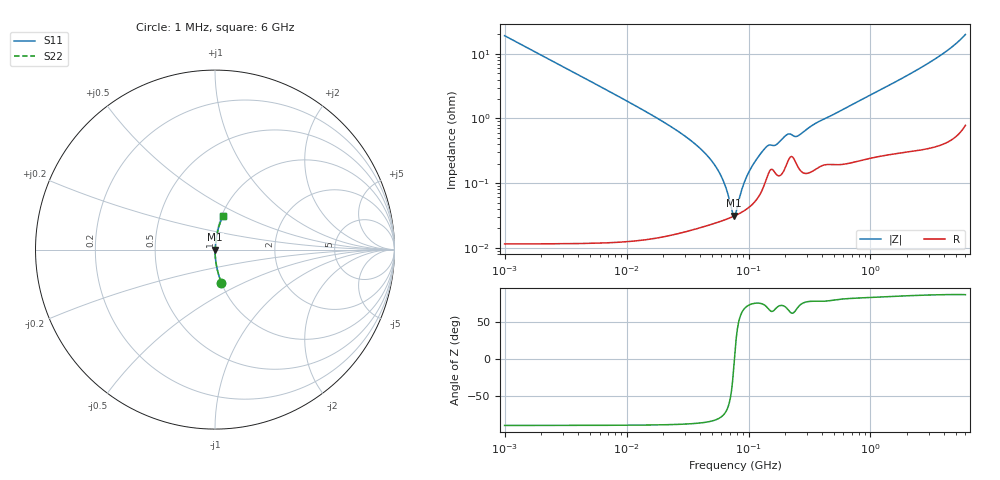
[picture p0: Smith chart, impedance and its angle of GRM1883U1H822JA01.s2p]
!Murata Part Number: GRM1883U1H822JA01
!These Parameters are Measured in Series Mode Connection
!Data Generated on Mar 30, 2021
!  o--ll--o
!Port1  Port2
!  o------o
!Operation Temp=25[degC], DC Bias Voltage=0[V]
!Freq. Start=1000[kHz] Stop=6[GHz] 401[Steps]
# Hz S RI R 50
!Freq.(Hz) S11(Real) S11(Imag) S21(Real) S21(Imag) S12(Real) S12(Imag) S22(Real) S22(Imag)
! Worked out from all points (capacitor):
!   401 points, 1 MHz to 6 GHz, reference 50 ohm
!   read as one part in series: C = 8.35 nF near 1.044 MHz
!   lowest |Z| = 31.2 mohm at 75.79 MHz (marker M1)
!   series resonance near 76.59 MHz, so ESL is about 520 pH
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1000000  0.0352 -0.1839  0.9648 0.1839  0.9648 0.1839  0.0352 -0.1839
4293785  0.00207 -0.0442  0.9979 0.0442  0.9979 0.0442  0.00207 -0.0442
1.843659e7  0.000237 -0.00971  0.9998 0.00971  0.9998 0.00971  0.000237 -0.00971
3.389622e7  0.000206 -0.0045  0.9998 0.0045  0.9998 0.0045  0.000206 -0.0045
4.905945e7  0.000233 -0.00228  0.9998 0.00228  0.9998 0.00228  0.000233 -0.00228
6.097846e7  0.000262 -0.00114  0.9997 0.00114  0.9997 0.00114  0.000262 -0.00114
6.652088e7  0.000278 -0.000705  0.9997 0.000705  0.9997 0.000705  0.000278 -0.000705
7.256705e7  0.000296 -0.00027  0.9997 0.00027  0.9997 0.00027  0.000296 -0.00027
7.57932e7  0.000307 -5.23e-05  0.9997 5.23e-05  0.9997 5.23e-05  0.000307 -5.23e-05
7.745967e7  0.000313 5.69e-05  0.9997 -5.69e-05  0.9997 -5.69e-05  0.000313 5.69e-05
9.019724e7  0.000365 0.000834  0.9996 -0.000834  0.9996 -0.000834  0.000365 0.000834
9.83954e7  0.000408 0.0013  0.9996 -0.0013  0.9996 -0.0013  0.000408 0.0013
1.121107e8  0.000513 0.00204  0.9995 -0.00204  0.9995 -0.00204  0.000513 0.00204
1.334167e8  0.000904 0.00316  0.9991 -0.00316  0.9991 -0.00316  0.000904 0.00316
1.455431e8  0.00141 0.00356  0.9986 -0.00356  0.9986 -0.00356  0.00141 0.00356
1.694764e8  0.00137 0.0037  0.9986 -0.0037  0.9986 -0.0037  0.00137 0.0037
2.061188e8  0.00201 0.00521  0.998 -0.00521  0.998 -0.00521  0.00201 0.00521
2.506837e8  0.00189 0.00495  0.9981 -0.00495  0.9981 -0.00495  0.00189 0.00495
3.325952e8  0.00157 0.00762  0.9984 -0.00762  0.9984 -0.00762  0.00157 0.00762
1.428092e9  0.0038 0.0324  0.9962 -0.0324  0.9962 -0.0324  0.0038 0.0324
3.483508e9  0.011 0.0849  0.989 -0.0849  0.989 -0.0849  0.011 0.0849
6e9  0.045 0.1886  0.955 -0.1886  0.955 -0.1886  0.045 0.1886
